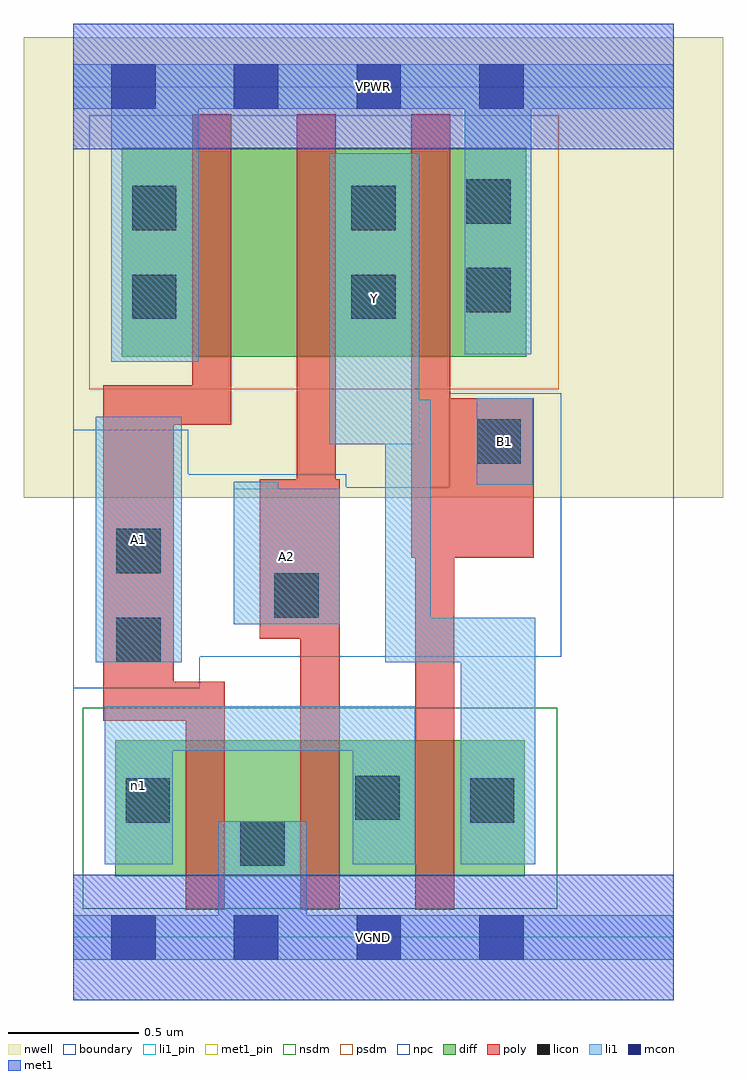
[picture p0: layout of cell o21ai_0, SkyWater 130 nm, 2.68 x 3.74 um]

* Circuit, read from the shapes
.subckt o21ai_0 A1 A2 B1 VGND VPWR Y n1
XM1 VGND A1 n1 VSUBS sky130_fd_pr__nfet_01v8 w=0.52 l=0.15
XM2 n1 A2 VGND VSUBS sky130_fd_pr__nfet_01v8 w=0.52 l=0.15
XM3 Y B1 n1 VSUBS sky130_fd_pr__nfet_01v8 w=0.52 l=0.15
XM4 n2 A1 VPWR n3 sky130_fd_pr__pfet_01v8 w=0.8 l=0.15
XM5 Y A2 n2 n3 sky130_fd_pr__pfet_01v8 w=0.8 l=0.15
XM6 VPWR B1 Y n3 sky130_fd_pr__pfet_01v8 w=0.8 l=0.15
.ends

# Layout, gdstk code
import gdstk
lib = gdstk.Library(unit=1e-6, precision=1e-09)
def R(c, l, rs):  # rectangles x0, y0, x1, y1
    for r in rs: c.add(gdstk.rectangle(r[:2], r[2:], *l))
def A(c, l, x, y, w, h, nx, ny, dx, dy):  # array of equal rectangles
    R(c, l, [(x+i*dx, y+j*dy, x+i*dx+w, y+j*dy+h) for i in range(nx) for j in range(ny)])
nwell = (64, 20)
diff = (65, 20)
poly = (66, 20)
licon = (66, 44)
li1_pin = (67, 16)
li1 = (67, 20)
mcon = (67, 44)
met1_pin = (68, 16)
met1 = (68, 20)
nsdm = (93, 44)
psdm = (94, 20)
npc = (95, 20)
boundary = (235, 4)

o21ai_0 = lib.new_cell('o21ai_0')
R(o21ai_0, nwell, [(-0.19,1.685,2.49,3.45), (0,1.685,2.3,3.45)])
R(o21ai_0, diff, [(0.16,0.235,1.73,0.755), (0.185,2.225,1.735,3.025)])
R(o21ai_0, poly, [(0.43,0.105,0.58,0.98), (0.87,0.105,1.02,1.755), (1.31,0.105,1.46,2.065), (0.115,0.83,0.385,2.115), (0.115,0.83,0.58,0.98), (0.715,1.145,1.02,1.755), (0.855,1.145,1.005,3.155), (1.295,1.455,1.445,3.155), (1.295,1.455,1.765,2.065), (0.115,1.965,0.605,2.115), (0.455,1.965,0.605,3.155)])
R(o21ai_0, licon, [(0.64,0.275,0.81,0.445), (0.2,0.44,0.37,0.61), (1.52,0.44,1.69,0.61), (1.08,0.45,1.25,0.62), (0.165,1.055,0.335,1.225), (0.77,1.225,0.94,1.395), (0.165,1.395,0.335,1.565), (1.545,1.815,1.715,1.985), (0.225,2.37,0.395,2.54), (1.065,2.37,1.235,2.54), (1.505,2.395,1.675,2.565), (0.225,2.71,0.395,2.88), (1.065,2.71,1.235,2.88), (1.505,2.735,1.675,2.905)])
R(o21ai_0, li1_pin, [(0.085,1.055,0.415,1.995), (0.615,1.2,1.02,1.72), (1.545,1.735,1.76,2.065), (0.98,1.89,1.325,3.005)])
R(o21ai_0, li1, [(0,-0.085,2.3,0.085), (0.555,-0.085,0.895,0.445), (0.12,0.28,0.38,0.885), (1.07,0.28,1.31,0.885), (1.485,0.28,1.77,1.225), (0.12,0.715,1.31,0.885), (0.085,1.055,0.415,1.995), (1.195,1.055,1.37,2.06), (1.195,1.055,1.77,1.225), (0.615,1.2,1.02,1.72), (0.615,1.2,0.785,1.745), (1.545,1.735,1.76,2.065), (0.98,1.89,1.325,3.005), (0.145,2.205,0.48,3.345), (1.5,2.235,1.755,3.345), (0,3.175,2.3,3.345)])
A(o21ai_0, mcon, 0.145, -0.085, 0.17, 0.17, 4, 2, 0.47, 3.26)
R(o21ai_0, met1_pin, [(0,-0.24,2.3,0.24), (0,3.02,2.3,3.5)])
R(o21ai_0, met1, [(0,-0.24,2.3,0.24), (0,3.02,2.3,3.5)])
R(o21ai_0, nsdm, [(0.035,0.11,1.855,0.88)])
R(o21ai_0, psdm, [(0.06,2.1,1.86,3.15)])
R(o21ai_0, npc, [(0,0.955,0.44,1.945), (0,0.955,0.485,1.775), (0,1.075,1.87,1.725), (0,1.075,1.045,1.775), (1.44,1.075,1.87,2.085)])
R(o21ai_0, boundary, [(0,0,2.3,3.26)])
o21ai_0.add(gdstk.Label('A1', (0.25,1.525), layer=67, texttype=5))
o21ai_0.add(gdstk.Label('A2', (0.817,1.46), layer=67, texttype=5))
o21ai_0.add(gdstk.Label('B1', (1.652,1.9), layer=67, texttype=5))
o21ai_0.add(gdstk.Label('Y', (1.152,2.447), layer=67, texttype=5))
o21ai_0.add(gdstk.Label('n1', (0.25,0.582), layer=67, texttype=5))
o21ai_0.add(gdstk.Label('VPWR', (1.15,3.26), layer=68, texttype=5))
o21ai_0.add(gdstk.Label('VGND', (1.15,0), layer=68, texttype=5))
o21ai_0.add(gdstk.Label('A1', (0.25,1.525), layer=67, texttype=16))
o21ai_0.add(gdstk.Label('A2', (0.817,1.46), layer=67, texttype=16))
o21ai_0.add(gdstk.Label('B1', (1.652,1.9), layer=67, texttype=16))
o21ai_0.add(gdstk.Label('Y', (1.152,2.447), layer=67, texttype=16))
o21ai_0.add(gdstk.Label('VPWR', (1.15,3.26), layer=68, texttype=16))
o21ai_0.add(gdstk.Label('VGND', (1.15,0), layer=68, texttype=16))

lib.write_gds('o21ai_0.gds')
